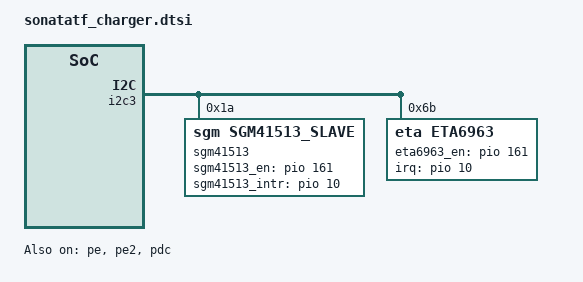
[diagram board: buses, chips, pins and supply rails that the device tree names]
// SPDX-License-Identifier: GPL-2.0+
&mt6370_pmu {
	mt6370,intr_gpio_num = <11>; /* direct defined GPIO num */
	mt6370,intr_gpio = <&pio 11 0x0>;
};

&mt6370_typec {
	mt6370pd,intr_gpio_num = <41>; /* direct defined GPIO num */
	mt6370pd,intr_gpio = <&pio 41 0x0>;
/*Begin add for support 9V/2A with PD2.0 by wanglin.chen on 2021.11.16*/
	pd-data {
		pd,sink-pdo-size = <2>;
		/*(5V, 2A), (9V, 2A)*/
		pd,sink-pdo-data = <0x000190c8 0x0002d0c8>;
	};
/*End add for support 9V/2A with PD2.0 by wanglin.chen on 2021.11.16*/
};

/* Warning: vrt, term, rev6 must configured pairly with host prop */
&u2port0 {
	mediatek,eye-vrt = <5>; /* 0~7 */
	mediatek,eye-term = <0>; /* 0~7 */
	mediatek,eye-rev6 = <3>; /* 0~3 */

	mediatek,host-eye-vrt = <7>; /* 0~7 */
	mediatek,host-eye-term = <3>; /* 0~7 */
	mediatek,host-eye-rev6 = <3>; /* 0~3 */
};

&i2c3 {
	sgm41513:sgm41513@1A {
		compatible = "sgm,sgm41513_slave";
		reg = <0x1A>;
		status = "okay";
		charger_name = "secondary_chg";
		alias_name = "sgm41513_slave";
		gpio_sgm41513_en = <&pio 161 0x0>;
		gpio_sgm41513_intr = <&pio 10 0x0>;
	};
	eta6963:eta6963@6B {
		compatible = "eta,eta6963";
		reg = <0x6B>;
		charger_name = "secondary_chg";
		alias_name = "eta6963-slave";
		interrupt-parent = <&pio>;
		interrupts = <10 0>;
		eta6963_en_gpio = <&pio 161 0x0>;
		usb-vlim = <4500>;
		usb-ilim = <100>;
		usb-vreg = <4400>;
		usb-ichg = <100>;
		stat-pin-ctrl = <3>;
		precharge-current = <240>;
		termination-current = <180>;
		boost-voltage = <5000>;
		boost-current = <1200>;
		vac-ovp-threshold = <10500>;
		status = "okay";
	};
};

&lk_charger {
	enable_anime;
	power_path_support;
	/* charging current */
	usb_charger_current = <500000>;
	ac_charger_current = <1000000>;
	ac_charger_input_current = <1050000>;
	non_std_ac_charger_current = <500000>;
	charging_host_charger_current = <1000000>;
	ta_ac_charger_current = <10500000>;
	pd_charger_current = <1050000>;
	max_charger_voltage = <10500000>;
	fast_charge_voltage = <2900000>;

	/* battery temperature protection */
	temp_t4_threshold = <54>;
	temp_t3_threshold = <45>;
	temp_t1_threshold = <6>;
	temp_t0_threshold = <3>; //1
};

&pe {
	status = "okay";
	ta_9v_support;
	pe_ichg_level_threshold = <1000000>; /* uA */
	ta_ac_12v_input_current = <1300000>;
	ta_ac_9v_input_current = <1600000>;
	ta_ac_7v_input_current = <2100000>;
	pe_charger_current = <3000000>;  // max 15W as PE ta support
	main_pct = <100>;
	ta_stop_battery_soc = <80>;
};

&pe2 {
	status = "okay";
	sc_input_current = <1600000>;
	sc_charger_current = <3000000>;
	/* dual charger in series */
	dcs_input_current = <2000000>;
	dcs_chg1_charger_current = <1860000>;
	dcs_chg2_charger_current = <1860000>;
	main_pct = <45>;
	ta_stop_battery_soc = <80>;
	pe20_ichg_level_threshold = <1000000>; /* uA */
	dual_polling_ieoc = <250000>;
};

&pdc {
	status = "okay";
	main_pct = <45>;
	dcs_input_current = <2000000>;
	dcs_chg1_charger_current = <1860000>;
	dcs_chg2_charger_current = <1860000>;
	pd_vbus_low_bound = <5000000>;
	pd_vbus_upper_bound = <10000000>;
	pd_stop_battery_soc = <80>;
	ibus_err = <14>;
	vsys_watt = <5000000>;
	dual_polling_ieoc = <250000>;
};

&pe4 {
	status = "disabled";
	dcs_chg1_charger_current = <2000000>;
	dcs_chg2_charger_current = <2000000>;
};

&mtk_charger_type {
	bc12_active = <1>;
	bootmode = <&chosen>;
};

&usb{
	charger = <&mt6370_chg>;
};

&charger {
	charger = <&mt6370_chg>;
	charger_configuration= <2>;
	/* common */
	power_path_support;
	enable_dynamic_mivr;

	battery_cv = <4400000>;

	enable_pe_2;
	enable_hv_charging;
	max_charger_voltage = <10500000>;
	min_charger_voltage = <4400000>; /* [BSP]Added by bitao.xiong for SNTTF-6694 2023/03/28 */

	/* charging current */
	usb_charger_current_suspend = <0>;
	usb_charger_current_unconfigured = <70000>;
	usb_charger_current_configured = <500000>;
	usb_charger_current = <500000>;
	ac_charger_current = <2000000>;
	ac_charger_input_current = <2100000>;
	non_std_ac_charger_current = <500000>;
	charging_host_charger_current = <1300000>;
	weak_ac_charger_input_current = <1400000>;

	/* sw jeita */
	enable_sw_jeita;
	jeita_temp_above_t4_cv = <4100000>;
	jeita_temp_t3_to_t4_cv = <4100000>;
	jeita_temp_t2_to_t3_cv = <4400000>;
	jeita_temp_t1_to_t2_cv = <4400000>;
	jeita_temp_t0_to_t1_cv = <4400000>;
	jeita_temp_below_t0_cv = <4400000>;
	temp_t4_thres = <55>;
	temp_t4_thres_minus_x_degree = <51>;
	temp_t3_thres = <43>;
	temp_t3_thres_minus_x_degree = <41>;
	temp_t2_thres = <11>;
	temp_t2_thres_plus_x_degree = <12>;
	temp_t1_thres = <6>;
	temp_t1_thres_plus_x_degree = <7>;
	temp_t0_thres = <3>; //0
	temp_t0_thres_plus_x_degree = <4>;//1
	temp_neg_10_thres = <3>;//2

	jeita_temp_above_t4_current = <0>;
	jeita_temp_t3_to_t4_current = <2280000>;
	jeita_temp_t2_to_t3_current = <3720000>;
	jeita_temp_t1_to_t2_current = <840000>;
	jeita_temp_t0_to_t1_current = <840000>;
	jeita_temp_below_t0_current = <0>;

	/* battery temperature protection */
	enable_min_charge_temp;
	min_charge_temp = <1>;
	min_charge_temp_plus_x_degree = <2>;
	max_charge_temp = <55>;
	max_charge_temp_minus_x_degree = <51>;

	enable_step_chg;
	step_chg_vbat = <4300000>;
	step_chg_vbat_hysteresis = <100000>;
	setp_chg_current = <3200000>;

	vbat_cable_imp_threshold = <3300000>; /* uV */
	car_tune_value_sy6970qcc = <1020>;
	enable_bcct_lcmoff; /* [TCTCD][BSP]Added by bitao.xiong for SNTTF-4894 on 2022/09/19 */
	//enable_cl_backlight;
	//cl_backlight_levels = <180 162 144 126>;
};

&mt6370_chg {
	/*
	bc12_sel = 0, Use charging IC's bc1.2
	bc12_sel = 1, Use MTK PMIC's bc1.2
	bc12_sel = 2, Use External IC's bc1.2
	*/
	bc12_sel = <1>;
	ieoc = <250000>; /* uA */
	mivr = <4500000>;		/* uV */
	cv = <4400000>;			/* uA */
	/*only for ieee1725 test begin*/
	ircmp_resistor = <0>;
	ircmp_vclamp = <0>;             /* uV */
	/*only for ieee1725 test end*/
};

